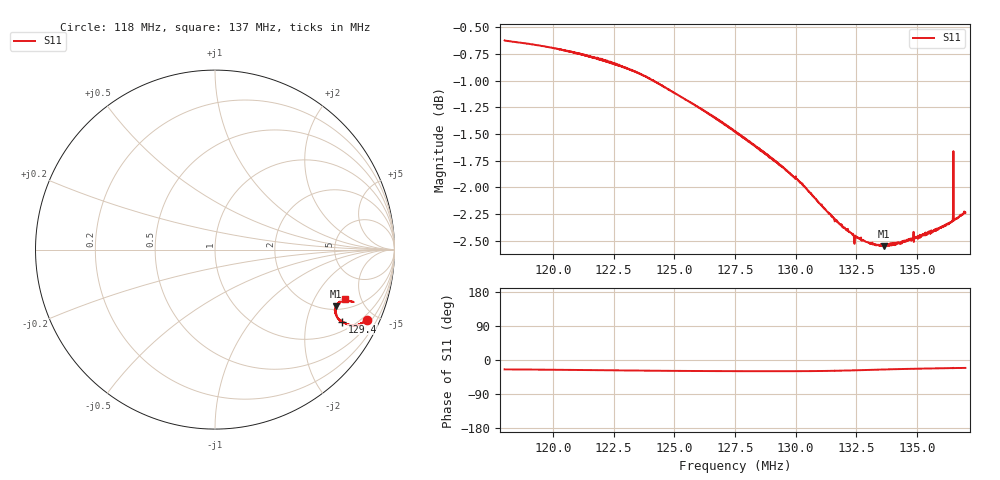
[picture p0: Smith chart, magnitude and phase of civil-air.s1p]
! Calibrated averaged scanner-service zoom
# Hz S RI R 50
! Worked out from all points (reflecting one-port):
!   2001 points, 118 MHz to 137 MHz, reference 50 ohm
!   lowest |S11| = -2.6 dB at 133.6 MHz (marker M1), VSWR 6.86, Z = 108 - j154 ohm
!   phase of S11 starts at -25 deg and turns +4 deg over the sweep
!   S11 on the Smith chart (normalised r, x): 118 MHz: 0.76, -4.44; 129.4 MHz: 1.37, -3.26; 137 MHz: 2.63, -3.60
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1.18e8  0.8455 -0.3896
1.19064e8  0.8387 -0.3956
1.20375e8  0.8285 -0.4033
1.217715e8  0.8154 -0.4117
1.2275e8  0.8041 -0.4167
1.240135e8  0.7869 -0.4224
1.25125e8  0.7699 -0.4222
1.264835e8  0.7495 -0.4195
1.275e8  0.7351 -0.4148
1.293525e8  0.7082 -0.4014
1.29875e8  0.7001 -0.3956
1.30369e8  0.6928 -0.3903
1.30901e8  0.684 -0.3808
1.31718e8  0.6742 -0.3628
1.3225e8  0.6709 -0.3498
1.324685e8  0.6709 -0.3441
1.32554e8  0.6699 -0.3417
1.32972e8  0.6712 -0.3314
1.336465e8  0.6753 -0.3158
1.342735e8  0.6839 -0.3038
1.34625e8  0.6885 -0.2989
1.360975e8  0.7075 -0.2832
1.364015e8  0.7118 -0.2795
1.36411e8  0.7116 -0.2808
1.365725e8  0.7147 -0.2787
1.36601e8  0.7154 -0.2781
1.366105e8  0.7155 -0.2789
1.37e8  0.7221 -0.2757
